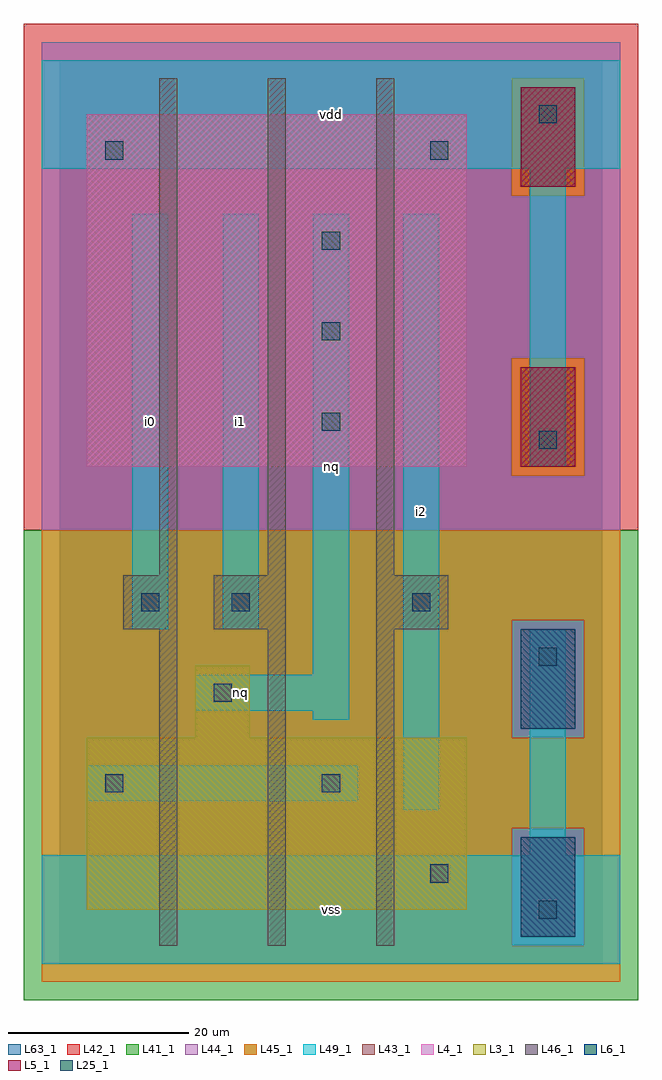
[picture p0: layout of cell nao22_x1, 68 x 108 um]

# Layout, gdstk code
import gdstk
lib = gdstk.Library(unit=1e-6, precision=1e-09)
def R(c, l, rs):  # rectangles x0, y0, x1, y1
    for r in rs: c.add(gdstk.rectangle(r[:2], r[2:], *l))
def A(c, l, x, y, w, h, nx, ny, dx, dy):  # array of equal rectangles
    R(c, l, [(x+i*dx, y+j*dy, x+i*dx+w, y+j*dy+h) for i in range(nx) for j in range(ny)])
L3_1 = (3, 1)
L4_1 = (4, 1)
L5_1 = (5, 1)
L6_1 = (6, 1)
L25_1 = (25, 1)
L41_1 = (41, 1)
L42_1 = (42, 1)
L43_1 = (43, 1)
L44_1 = (44, 1)
L45_1 = (45, 1)
L46_1 = (46, 1)
L49_1 = (49, 1)
L63_1 = (63, 1)

nao22_x1 = lib.new_cell('nao22_x1')
R(nao22_x1, L3_1, [(3,6,45,25), (15,25,21,33)])
R(nao22_x1, L4_1, [(3,55,45,94)])
R(nao22_x1, L5_1, [(51,55,57,66), (51,86,57,97)])
R(nao22_x1, L6_1, [(51,3,57,14), (51,3,57,14), (51,26,57,37), (51,26,57,37)])
A(nao22_x1, L25_1, 29, 59, 2, 2, 1, 3, 0, 10)
R(nao22_x1, L25_1, [(53,5,55,7), (41,9,43,11), (5,19,7,21), (29,19,31,21), (17,29,19,31), (53,33,55,35), (9,39,11,41), (19,39,21,41), (39,39,41,41), (53,57,55,59), (5,89,7,91), (41,89,43,91), (53,93,55,95)])
R(nao22_x1, L41_1, [(-4,-4,64,48)])
R(nao22_x1, L42_1, [(-4,48,64,104)])
R(nao22_x1, L43_1, [(51,3,57,14), (3,6,45,25), (15,25,21,33), (51,26,57,37), (3,55,45,94), (51,55,57,66), (51,86,57,97)])
R(nao22_x1, L44_1, [(50,2,58,15), (50,25,58,38), (-2,48,62,54), (-2,54,50,67), (58,54,62,67), (-2,67,62,85), (-2,85,50,98), (58,85,62,98), (-2,98,62,102)])
R(nao22_x1, L45_1, [(-2,-2,62,2), (-2,2,50,15), (58,2,62,15), (-2,15,62,25), (-2,25,50,38), (58,25,62,38), (-2,38,62,48), (50,54,58,67), (50,85,58,98)])
A(nao22_x1, L46_1, 11, 2, 2, 35, 3, 1, 12, 0)
A(nao22_x1, L46_1, 11, 43, 2, 55, 3, 1, 12, 0)
R(nao22_x1, L46_1, [(7,37,13,43), (17,37,25,43), (35,37,43,43)])
R(nao22_x1, L49_1, [(-2,0,62,12), (52,12,56,37), (38,17,42,83), (3,18,33,22), (28,27,32,28), (15,28,32,32), (28,32,32,83), (8,37,12,83), (18,37,22,83), (52,55,56,88), (-2,88,62,100)])
R(nao22_x1, L63_1, [(0,0,60,100)])
nao22_x1.add(gdstk.Label('i0', (10,60), layer=49, texttype=1))
nao22_x1.add(gdstk.Label('nq', (20,30), layer=49, texttype=1))
nao22_x1.add(gdstk.Label('i1', (20,60), layer=49, texttype=1))
nao22_x1.add(gdstk.Label('vss', (30,6), layer=49, texttype=1))
nao22_x1.add(gdstk.Label('i2', (40,50), layer=49, texttype=1))
nao22_x1.add(gdstk.Label('nq', (30,55), layer=49, texttype=1))
nao22_x1.add(gdstk.Label('vdd', (30,94), layer=49, texttype=1))

lib.write_gds('nao22_x1.gds')
